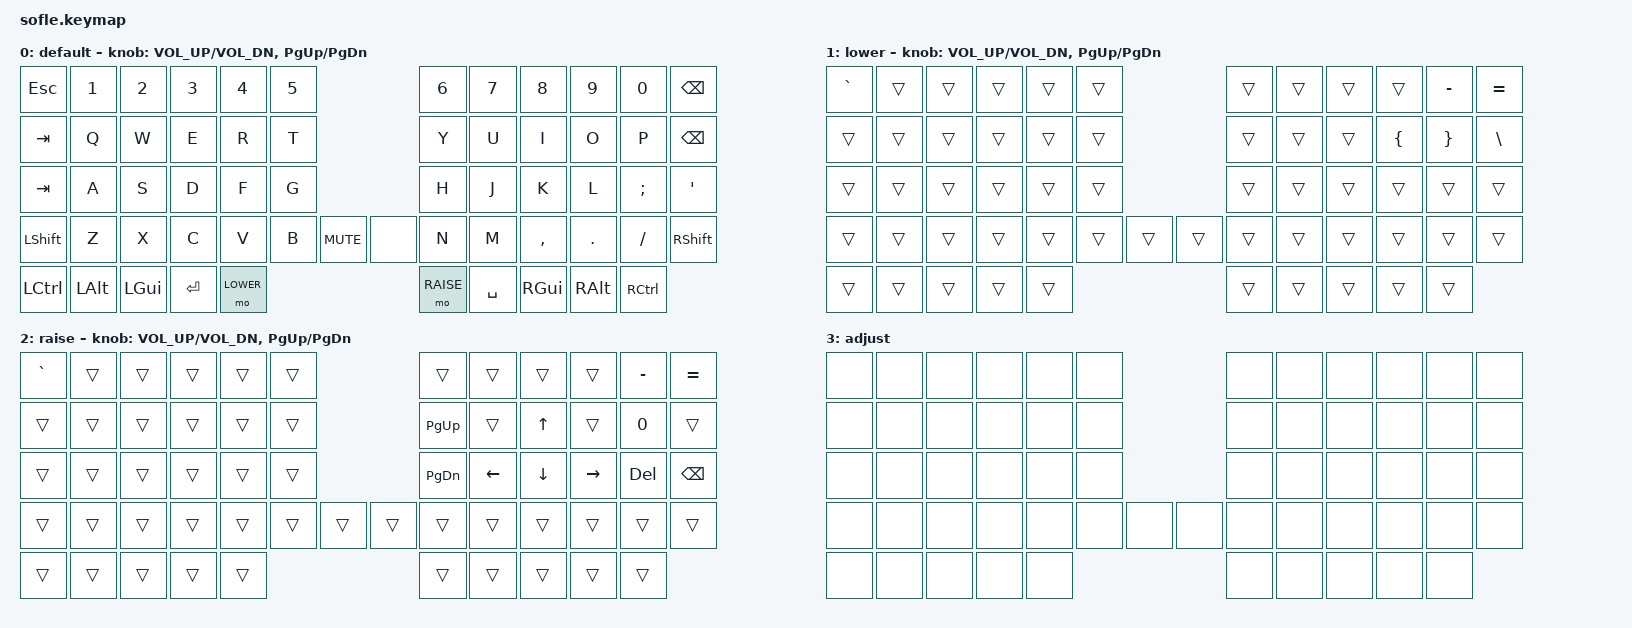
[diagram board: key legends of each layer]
/*
 * Copyright (c) 2020 The ZMK Contributors
 *
 * SPDX-License-Identifier: MIT
 */

#include <behaviors.dtsi>
#include <dt-bindings/zmk/keys.h>
#include <dt-bindings/zmk/bt.h>
#include <dt-bindings/zmk/rgb.h>
#include <dt-bindings/zmk/ext_power.h>

#define BASE 0
#define LOWER 1
#define RAISE 2
#define ADJUST 3

/ {

   // Activate ADJUST layer by pressing raise and lower
    conditional_layers {
        compatible = "zmk,conditional-layers";
        adjust_layer {
            if-layers = <LOWER RAISE>;
            then-layer = <ADJUST>;
        };
    };

    keymap {
        compatible = "zmk,keymap";

        default_layer {
            display-name = "default";
// ------------------------------------------------------------------------------------------------------------
// |  ESC  |  1  |  2  |  3   |  4   |  5   |                   |  6   |  7    |  8    |  9   |   0   | BKSPC |
// |  TAB  |  Q  |  W  |  E   |  R   |  T   |                   |  Y   |  U    |  I    |  O   |   P   | BKSPC |
// |  TAB  |  A  |  S  |  D   |  F   |  G   |                   |  H   |  J    |  K    |  L   |   ;   |   '   |
// | SHIFT |  Z  |  X  |  C   |  V   |  B   |  MUTE  |  |       |  N   |  M    |  ,    |  .   |   /   | SHIFT |
//               | CTRL| ALT  | GUI | LOWER|  ENTER |  | SPACE | RAISE | GUI   | ALT   | CTRL |
            bindings = <
&kp ESC &kp N1 &kp N2   &kp N3   &kp N4    &kp N5                           &kp N6 &kp N7    &kp N8    &kp N9   &kp N0   &kp BSPC
&kp TAB   &kp Q  &kp W    &kp E    &kp R     &kp T                            &kp Y  &kp U     &kp I     &kp O    &kp P    &kp BSPC
&kp TAB   &kp A  &kp S    &kp D    &kp F     &kp G                            &kp H  &kp J     &kp K     &kp L    &kp SEMI &kp SQT
&kp LSHFT &kp Z  &kp X    &kp C    &kp V     &kp B      &kp C_MUTE &none      &kp N  &kp M     &kp COMMA &kp DOT  &kp FSLH &kp RSHFT
&kp LCTRL &kp LALT &kp LGUI   &kp RET &mo LOWER                               &mo RAISE &kp SPACE  &kp RGUI &kp RALT  &kp RCTRL
            >;

            sensor-bindings = <&inc_dec_kp C_VOL_UP C_VOL_DN &inc_dec_kp PG_UP PG_DN>;
        };

        lower_layer {
            display-name = "lower";
// TODO: Some binds are waiting for shifted keycode support.
// ------------------------------------------------------------------------------------------------------------
// |   `   |      |      |       |       |      |                |      |      |       |      |   -   |   =   |
// |       |      |      |       |       |      |                |      |      |       |   {  |   }   |   \   |
// |       |      |      |       |       |      |                |      |      |       |      |       |       |
// |       |      |      |       |       |      |      |  |      |      |      |       |      |       |       |
//                |      |       |       |      |      |  |      |      |      |       |      |
            bindings = <
&kp GRAVE  &trans  &trans  &trans  &trans  &trans                  &trans  &trans  &trans  &trans   &kp MINUS   &kp EQUAL   
&trans  &trans  &trans  &trans  &trans  &trans                  &trans  &trans  &trans  &kp LBRC  &kp RBRC  &kp BSLH
&trans  &trans  &trans  &trans  &trans  &trans                  &trans  &trans  &trans  &trans  &trans  &trans
&trans  &trans  &trans  &trans  &trans  &trans  &trans  &trans  &trans  &trans  &trans  &trans  &trans  &trans
                &trans  &trans  &trans  &trans  &trans  &trans  &trans  &trans  &trans  &trans
            >;

            sensor-bindings = <&inc_dec_kp C_VOL_UP C_VOL_DN &inc_dec_kp PG_UP PG_DN>;
        };

        raise_layer {
            display-name = "raise";
// ------------------------------------------------------------------------------------------------------------
// |    `  |      |      |       |       |      |                |      |      |       |      |   -   |   =   |
// |       |      |      |       |       |      |                | PGUP |      |   ^   |      |       |       |
// |       |      |      |       |       |      |                | PGDN |   <- |   v   |  ->  |  DEL  | BKSPC |
// |       |      |      |       |       |      |      |  |      |      |      |       |      |       |       |
//                |      |       |       |      |      |  |      |      |      |       |      |
            bindings = <
&kp GRAVE  &trans  &trans  &trans  &trans  &trans                  &trans    &trans    &trans   &trans  &kp MINUS   &kp EQUAL
&trans  &trans  &trans  &trans  &trans  &trans                  &kp PG_UP &trans    &kp UP   &trans    &kp N0  &trans
&trans  &trans  &trans  &trans  &trans  &trans                  &kp PG_DN &kp LEFT  &kp DOWN &kp RIGHT &kp DEL &kp BSPC
&trans  &trans  &trans  &trans  &trans  &trans  &trans  &trans  &trans    &trans    &trans   &trans    &trans  &trans
                &trans  &trans  &trans  &trans  &trans  &trans  &trans    &trans    &trans   &trans
            >;

            sensor-bindings = <&inc_dec_kp C_VOL_UP C_VOL_DN &inc_dec_kp PG_UP PG_DN>;
        };

        adjust_layer {
// ----------------------------------------------------------------------------------------------------------------------------
// |        |         |         |         |         |         |                  |      |      |       |      |       |       |
// |        |         |         |         |         |         |                  |      |      |       |      |       |       |
// |        |         |         |         |         |         |                  |      |      |       |      |       |       |
// |        |         |         |         |         |         |         | |      |      |      |       |      |       |       |
//                    |         |         |         |         |         | |      |      |      |       |      |
            display-name = "adjust";
            bindings = <
&none   &none   &none   &none   &none   &none                   &none   &none   &none   &none   &none   &none
&none   &none   &none   &none   &none   &none                   &none   &none   &none   &none   &none   &none
&none   &none   &none   &none   &none   &none                   &none   &none   &none   &none   &none   &none
&none   &none   &none   &none   &none   &none   &none   &none   &none   &none   &none   &none   &none   &none
                &none   &none   &none   &none   &none   &none   &none   &none   &none   &none
            >;
        };

    };
};
